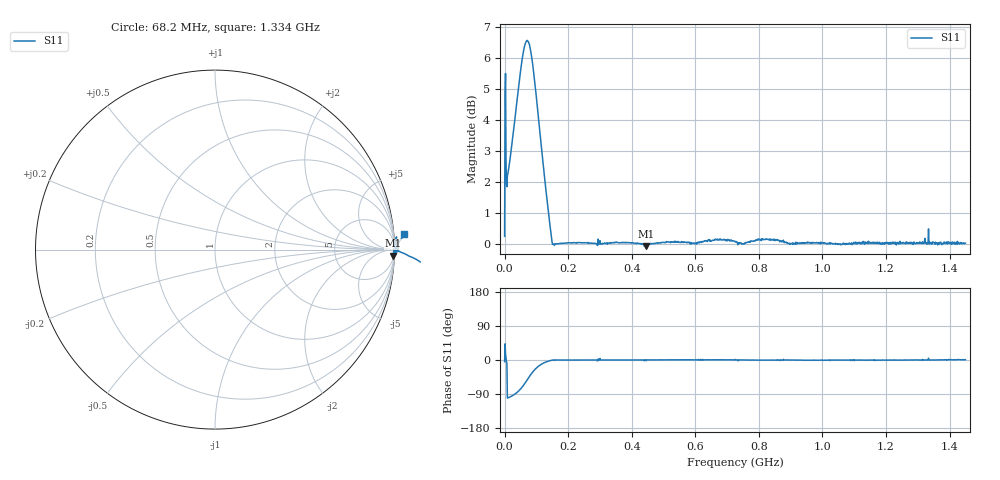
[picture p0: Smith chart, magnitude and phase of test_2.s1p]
! Created with skrf 1.11.0 (http://scikit-rf.org).
# Hz S RI R 50.0
!freq ReS11 ImS11
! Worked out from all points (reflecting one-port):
!   1001 points, 50 kHz to 1.45 GHz, reference 50 ohm
!   lowest |S11| = -0.1 dB at 445.2 MHz (marker M1), VSWR 296.34, Z = 570 - j2.85e+03 ohm
!   phase of S11 starts at -4 deg and turns +5 deg over the sweep
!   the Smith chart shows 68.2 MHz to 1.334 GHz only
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50000  1.027 -0.0792
8749700  -0.2374 -1.269
1.019965e7  -0.2255 -1.279
1.16496e7  -0.2165 -1.294
1.599945e7  -0.1864 -1.346
2.759905e7  -0.069 -1.515
3.77487e7  0.1007 -1.68
4.64484e7  0.3229 -1.807
5.659805e7  0.6875 -1.889
6.529775e7  1.06 -1.824
7.54474e7  1.448 -1.546
8.269715e7  1.61 -1.259
8.99469e7  1.661 -0.964
9.86466e7  1.622 -0.6632
1.073463e8  1.525 -0.4341
1.16046e8  1.404 -0.275
1.261956e8  1.268 -0.1459
1.421451e8  1.08 -0.0355
1.508448e8  1 0.000151
1.812938e8  1.004 -0.00131
3.625375e8  1.005 0.000679
4.451846e8  0.9927 -0.0335
5.437812e8  1.011 0.011
7.25025e8  1.01 0.0261
9.062688e8  1.005 -0.0042
1.087512e9  1 -0.00532
1.268756e9  1.006 -0.00178
1.45e9  1.004 0.0142
